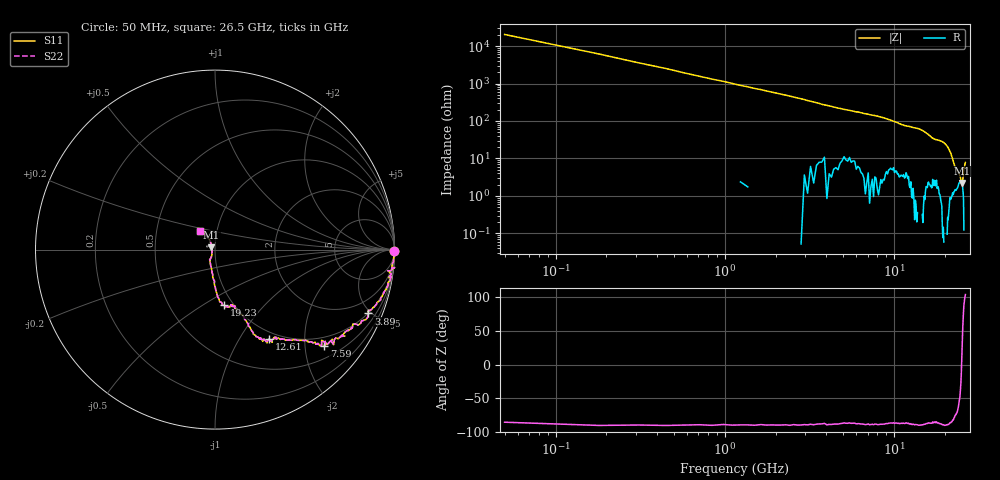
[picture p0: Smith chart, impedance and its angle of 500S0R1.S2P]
!  American Technical Ceramics  Date:  3/6/98
!  One Norden Lane
!  Huntington Station,  NY.  11746-2102
!  Tel:  (516) 547-5700  Fax:  (516) 547-5748
!  Part Number  500S0R1
!  Description: Broadband Microwave capacitor
!  Application:
# GHZ S DB R 50
! Freq  |S11|  S11 Ph  |S21|  S21 Ph  |S12|  S12 Ph  |S22|  S22 Ph
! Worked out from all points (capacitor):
!   201 points, 50 MHz to 26.5 GHz, reference 50 ohm
!   read as one part in series: C = 143 fF near 180 MHz
!   lowest |Z| = 2.21 ohm at 25.31 GHz (marker M1)
!   series resonance near 25.16 GHz, so ESL is about 280 pH
!   S11 on the Smith chart (normalised r, x): 50 MHz: open; 3.89 GHz: 0.97, -4.82; 7.59 GHz: 0.77, -2.43; 12.61 GHz: 0.89, -1.35; 19.23 GHz: 0.91, -0.62; 26.5 GHz: 0.83, +0.18
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0.05  0.00 -0.5  -46.21 85.4  -46.21 85.4  0.00 -0.5
0.18  -0.01 -1.2  -35.83 89.5  -35.83 89.5  -0.01 -1.2
0.31  0.01 -1.9  -31.06 88.2  -31.06 88.2  0.01 -1.9
0.84  -0.08 -6.2  -22.49 84.4  -22.49 84.4  -0.08 -6.2
1.77  -0.09 -10.1  -16.14 80.1  -16.14 80.1  -0.09 -10.1
3.89  -0.67 -22.6  -9.39 65.2  -9.39 65.2  -0.67 -22.6
4.55  -0.82 -26.8  -8.16 61.9  -8.16 61.9  -0.82 -26.8
7.59  -1.80 -41.5  -5.24 48.6  -5.24 48.6  -1.80 -41.5
8.91  -2.53 -43.7  -4.26 45.2  -4.26 45.2  -2.53 -43.7
12.61  -4.69 -59.1  -2.21 30.1  -2.21 30.1  -4.69 -59.1
13.28  -4.78 -62.5  -2.06 28.8  -2.06 28.8  -4.78 -62.5
17.77  -9.91 -73.9  -0.86 15.0  -0.86 15.0  -9.91 -73.9
19.23  -10.03 -80.5  -0.75 12.8  -0.75 12.8  -10.03 -80.5
20.81  -12.57 -88.3  -0.61 9.5  -0.61 9.5  -12.57 -88.3
22.14  -18.52 -98.5  -0.51 5.3  -0.51 5.3  -18.52 -98.5
22.93  -23.08 -113.7  -0.55 3.2  -0.55 3.2  -23.08 -113.7
23.99  -24.22 -117.9  -0.60 1.4  -0.60 1.4  -24.22 -117.9
24.52  -26.58 -115.6  -0.60 0.7  -0.60 0.7  -26.58 -115.6
25.18  -35.79 171.8  -0.55 -0.0  -0.55 -0.0  -35.79 171.8
25.31  -32.47 149.5  -0.55 -0.1  -0.55 -0.1  -32.47 149.5
25.97  -21.46 121.6  -0.46 -1.7  -0.46 -1.7  -21.46 121.6
26.5  -17.44 129.2  -0.51 -3.2  -0.51 -3.2  -17.44 129.2
